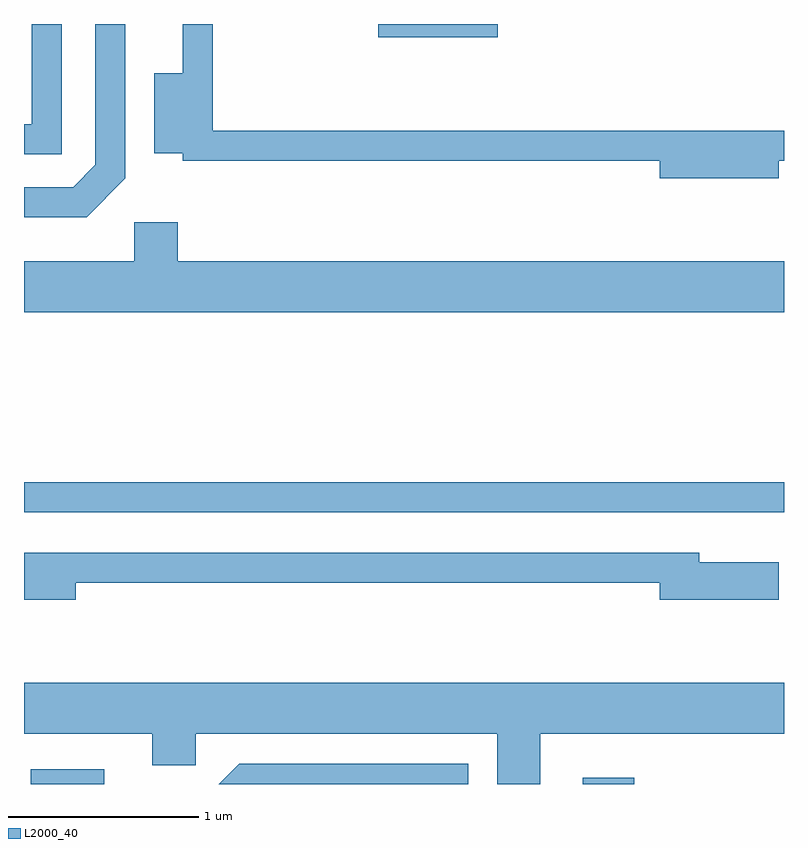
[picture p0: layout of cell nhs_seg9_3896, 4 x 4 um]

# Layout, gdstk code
import gdstk
lib = gdstk.Library(unit=1e-6, precision=1e-09)
def R(c, l, rs):  # rectangles x0, y0, x1, y1
    for r in rs: c.add(gdstk.rectangle(r[:2], r[2:], *l))
def P(c, l, *ps):  # polygons
    for p in ps: c.add(gdstk.Polygon(p, *l))
L2000_40 = (2000, 40)

nhs_seg9_3896 = lib.new_cell('nhs_seg9_3896')
R(nhs_seg9_3896, L2000_40, [(299.646,2000.432,300.033,2000.509), (302.553,2000.432,302.824,2000.464), (299.611,2001.861,303.611,2002.019), (301.476,2004.361,302.104,2004.432)])
P(nhs_seg9_3896, L2000_40, [(303.584,2003.711),(303.611,2003.711),(303.611,2003.869),(300.604,2003.869),(300.604,2004.432),(300.446,2004.432),(300.446,2004.174),(300.296,2004.174),(300.296,2003.751),(300.446,2003.751),(300.446,2003.711),(302.956,2003.711),(302.956,2003.621),(303.584,2003.621)],
  [(299.809,2004.432),(299.651,2004.432),(299.651,2003.904),(299.611,2003.904),(299.611,2003.746),(299.809,2003.746)],
  [(300.144,2003.619),(300.144,2004.432),(299.986,2004.432),(299.986,2003.692),(299.869,2003.574),(299.611,2003.574),(299.611,2003.416),(299.942,2003.416)],
  [(303.611,2003.184),(300.419,2003.184),(300.419,2003.389),(300.191,2003.389),(300.191,2003.184),(299.611,2003.184),(299.611,2002.916),(303.611,2002.916)],
  [(299.884,2001.491),(302.956,2001.491),(302.956,2001.401),(303.584,2001.401),(303.584,2001.599),(303.164,2001.599),(303.164,2001.649),(299.611,2001.649),(299.611,2001.401),(299.884,2001.401)],
  [(302.329,2000.696),(303.611,2000.696),(303.611,2000.964),(299.611,2000.964),(299.611,2000.696),(300.286,2000.696),(300.286,2000.531),(300.514,2000.531),(300.514,2000.696),(302.101,2000.696),(302.101,2000.432),(302.329,2000.432)],
  [(301.949,2000.539),(300.744,2000.539),(300.637,2000.432),(301.949,2000.432)])

lib.write_gds('nhs_seg9_3896.gds')
